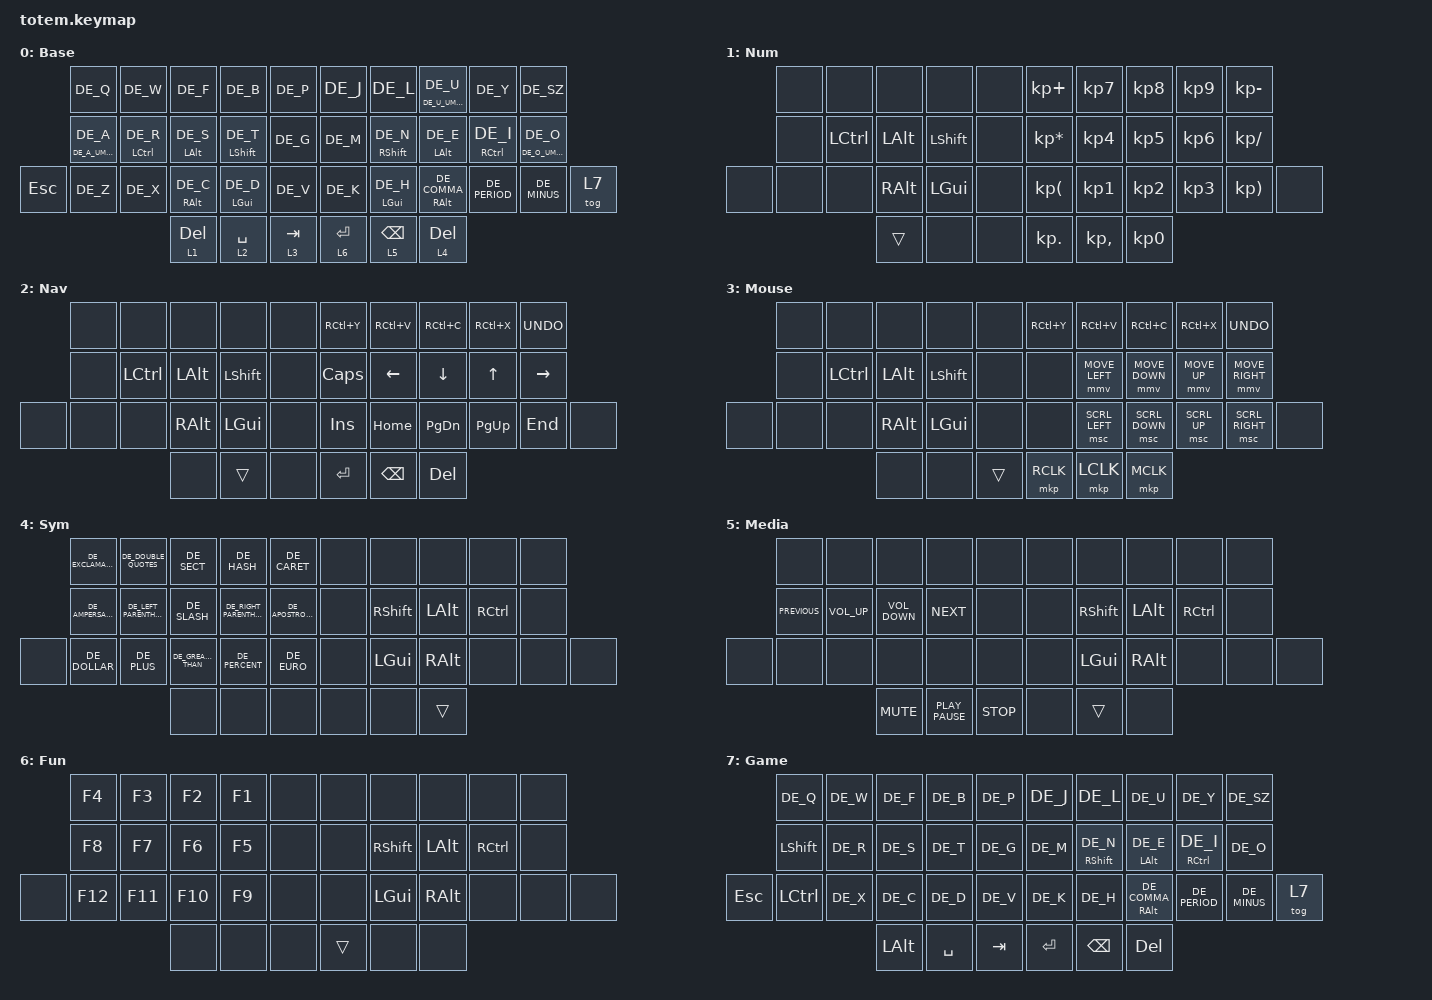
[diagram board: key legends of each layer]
//
//                                                        ▀▀▀▀▀     ▀▀▀▀▀          ▀▀█▀▀
//                                                        ▄▀▀▀▄  ▄  ▄▀▀▀▄  ▄  ▄▀▀▀▄  █  ▄▀▀▀▄
//                                                        █   █  █  █   █  █  █   █  █  █   █
//                                                         ▀▀▀   █   ▀▀▀   █   ▀▀▀   ▀   ▀▀▀
//                                                               █      ▄▄▄█▄▄▄    █   █  
//                                                               ▀      █  █  █     █▄█
//                                                             ▀▀▀▀▀    █  █  █      ▀
//                                                                      ▀  ▀  ▀
//
// ▄▄▄▄▄▄▄▄▄▄▄▄▄▄▄▄▄▄▄▄▄▄▄▄▄▄▄▄▄▄▄▄▄▄▄▄▄▄▄▄▄▄▄▄▄▄▄▄▄▄▄▄▄▄▄▄▄▄▄▄▄▄▄▄▄▄▄▄▄▄▄▄▄▄▄▄▄▄▄▄▄▄▄▄▄▄▄▄▄▄▄▄▄▄▄▄▄▄▄▄▄▄▄▄▄▄▄▄▄▄▄▄▄▄▄▄▄▄▄▄▄▄▄▄▄▄▄▄▄▄▄▄▄▄▄▄▄▄▄▄▄▄▄▄▄▄▄▄▄

#include "keys_de.h"
#include <behaviors.dtsi>
#include <dt-bindings/zmk/keys.h>
#include <dt-bindings/zmk/pointing.h>

#define Base        0
#define Nav         1
#define Sym         2
#define Fun         3
#define Game        4
#define Gameplus    5

&mt {
    quick-tap-ms = <100>;
    global-quick-tap;
    flavor = "tap-preferred";
    tapping-term-ms = <170>;
};

&lt {
    tapping-term-ms = <240>;
    flavor = "balanced";
    quick-tap-ms = <150>;
};

/ {
    behaviors {
        hml: homerow_mods_left {
            compatible = "zmk,behavior-hold-tap";
            label = "HOMEROW_MODS_LEFT";
            #binding-cells = <2>;
            flavor = "balanced";
            tapping-term-ms = <280>;
            quick-tap-ms = <175>;
            bindings = <&kp>, <&kp>;

            require-prior-idle-ms = <50>;
            hold-trigger-key-positions = <5 6 7 8 9 15 16 17 18 19 26 27 28 29 30 31 35 36 37>;
            hold-trigger-on-release;
        };

        um: umlaut_mods {
            compatible = "zmk,behavior-hold-tap";
            label = "UMLAUT_MODS";
            #binding-cells = <2>;
            flavor = "tap-preferred";
            tapping-term-ms = <250>;
            quick-tap-ms = <150>;
            bindings = <&kp>, <&kp>;
        };

        hmr: homerow_mods_right {
            compatible = "zmk,behavior-hold-tap";
            label = "HOMEROW_MODS_RIGHT";
            #binding-cells = <2>;
            flavor = "balanced";
            tapping-term-ms = <280>;
            quick-tap-ms = <175>;
            bindings = <&kp>, <&kp>;

            require-prior-idle-ms = <50>;
            hold-trigger-on-release;
            hold-trigger-key-positions = <0 1 2 3 4 10 11 12 13 14 20 21 22 23 24 25 32 33 34>;
        };
    };

    combos {
        compatible = "zmk,combos";

        Left_Bracket {
            bindings = <&kp DE_LEFT_BRACKET>;
            key-positions = <11 17>;
            layers = <4>;
            timeout-ms = <150>;
        };

        Right_Bracket {
            bindings = <&kp DE_RIGHT_BRACKET>;
            key-positions = <17 13>;
            layers = <4>;
            timeout-ms = <150>;
        };

        Left_Brace {
            bindings = <&kp DE_LEFT_BRACE>;
            key-positions = <11 18>;
            layers = <4>;
            timeout-ms = <150>;
        };

        Right_Brace {
            bindings = <&kp DE_RIGHT_BRACE>;
            key-positions = <13 18>;
            layers = <4>;
            timeout-ms = <150>;
        };
    };

    keymap {
        compatible = "zmk,keymap";

        Base {
            display-name = "Base";
            bindings = <
         &kp DE_Q              &kp DE_W         &kp DE_F             &kp DE_B            &kp DE_P     &kp DE_J     &kp DE_L            &um DE_U_UMLAUT DE_U     &kp DE_Y         &kp DE_SZ
         &um DE_A_UMLAUT DE_A  &hml LCTRL DE_R  &hml LEFT_ALT DE_S   &hml LSHIFT DE_T    &kp DE_G     &kp DE_M     &hmr RSHFT DE_N     &hmr LEFT_ALT DE_E       &hmr RCTRL DE_I  &um DE_O_UMLAUT DE_O
&kp ESC  &kp DE_Z              &kp DE_X         &hml RIGHT_ALT DE_C  &hml LEFT_GUI DE_D  &kp DE_V     &kp DE_K     &hmr LEFT_GUI DE_H  &hmr RIGHT_ALT DE_COMMA  &kp DE_PERIOD    &kp DE_MINUS          &tog 7
                                                &lt 1 DEL            &lt 2 SPACE         &lt 3 TAB    &lt 6 ENTER  &lt 5 BSPC          &lt 4 DELETE
            >;
        };

        Num {
            bindings = <
       &none  &none      &none          &none           &none    &kp KP_PLUS              &kp KP_NUMBER_7  &kp KP_NUMBER_8  &kp KP_NUMBER_9  &kp KP_MINUS
       &none  &kp LCTRL  &kp LEFT_ALT   &kp LEFT_SHIFT  &none    &kp KP_ASTERISK          &kp KP_NUMBER_4  &kp KP_NUMBER_5  &kp KP_NUMBER_6  &kp KP_DIVIDE
&none  &none  &none      &kp RIGHT_ALT  &kp LEFT_GUI    &none    &kp KP_LEFT_PARENTHESIS  &kp KP_NUMBER_1  &kp KP_NUMBER_2  &kp KP_NUMBER_3  &kp KP_RIGHT_PARENTHESIS  &none
                         &trans         &none           &none    &kp KP_DOT               &kp KP_COMMA     &kp KP_NUMBER_0
            >;

            label = "Num";
        };

        Nav {
            display-name = "Nav";
            bindings = <
       &none  &none      &none          &none           &none    &kp RC(Y)     &kp RC(V)       &kp RC(C)       &kp RC(X)     &kp K_UNDO
       &none  &kp LCTRL  &kp LEFT_ALT   &kp LEFT_SHIFT  &none    &kp CAPSLOCK  &kp LEFT_ARROW  &kp DOWN_ARROW  &kp UP_ARROW  &kp RIGHT_ARROW
&none  &none  &none      &kp RIGHT_ALT  &kp LEFT_GUI    &none    &kp INSERT    &kp HOME        &kp PAGE_DOWN   &kp PAGE_UP   &kp END          &none
                         &none          &trans          &none    &kp ENTER     &kp BACKSPACE   &kp DELETE
            >;
        };

        Mouse {
            label = "Mouse";
            bindings = <
       &none  &none      &none          &none           &none     &kp RC(Y)  &kp RC(V)       &kp RC(C)       &kp RC(X)     &kp K_UNDO
       &none  &kp LCTRL  &kp LEFT_ALT   &kp LEFT_SHIFT  &none     &none      &mmv MOVE_LEFT  &mmv MOVE_DOWN  &mmv MOVE_UP  &mmv MOVE_RIGHT
&none  &none  &none      &kp RIGHT_ALT  &kp LEFT_GUI    &none     &none      &msc SCRL_LEFT  &msc SCRL_DOWN  &msc SCRL_UP  &msc SCRL_RIGHT  &none
                         &none          &none           &trans    &mkp RCLK  &mkp LCLK       &mkp MCLK
            >;
        };

        Sym {
            bindings = <
       &kp DE_EXCLAMATION  &kp DE_DOUBLE_QUOTES     &kp DE_SECT          &kp DE_HASH               &kp DE_CARET         &none  &none      &none     &none      &none
       &kp DE_AMPERSAND    &kp DE_LEFT_PARENTHESIS  &kp DE_SLASH         &kp DE_RIGHT_PARENTHESIS  &kp DE_APOSTROPHE    &none  &kp RSHFT  &kp LALT  &kp RCTRL  &none
&none  &kp DE_DOLLAR       &kp DE_PLUS              &kp DE_GREATER_THAN  &kp DE_PERCENT            &kp DE_EURO          &none  &kp LGUI   &kp RALT  &none      &none  &none
                                                    &none                &none                     &none                &none  &none      &trans
            >;

            label = "Sym";
        };

        Media {
            bindings = <
       &none           &none            &none              &none             &none         &none  &none      &none     &none      &none
       &kp K_PREVIOUS  &kp K_VOLUME_UP  &kp K_VOLUME_DOWN  &kp K_NEXT        &none         &none  &kp RSHFT  &kp LALT  &kp RCTRL  &none
&none  &none           &none            &none              &none             &none         &none  &kp LGUI   &kp RALT  &none      &none  &none
                                        &kp K_MUTE         &kp K_PLAY_PAUSE  &kp K_STOP    &none  &trans     &none
            >;

            label = "Media";
        };

        Fun {
            bindings = <
       &kp F4   &kp F3   &kp F2   &kp F1  &none    &none   &none      &none     &none      &none
       &kp F8   &kp F7   &kp F6   &kp F5  &none    &none   &kp RSHFT  &kp LALT  &kp RCTRL  &none
&none  &kp F12  &kp F11  &kp F10  &kp F9  &none    &none   &kp LGUI   &kp RALT  &none      &none  &none
                         &none    &none   &none    &trans  &none      &none
            >;

            label = "Fun";
        };

        Game {
            display-name = "Game";
            bindings = <
         &kp DE_Q   &kp DE_W  &kp DE_F  &kp DE_B   &kp DE_P    &kp DE_J   &kp DE_L         &kp DE_U                 &kp DE_Y         &kp DE_SZ
         &kp LSHFT  &kp DE_R  &kp DE_S  &kp DE_T   &kp DE_G    &kp DE_M   &hmr RSHFT DE_N  &hmr LEFT_ALT DE_E       &hmr RCTRL DE_I  &kp DE_O
&kp ESC  &kp LCTRL  &kp DE_X  &kp DE_C  &kp DE_D   &kp DE_V    &kp DE_K   &kp DE_H         &hmr RIGHT_ALT DE_COMMA  &kp DE_PERIOD    &kp DE_MINUS  &tog 7
                              &kp LALT  &kp SPACE  &kp TAB     &kp ENTER  &kp BACKSPACE    &kp DELETE
            >;
        };
    };
};
